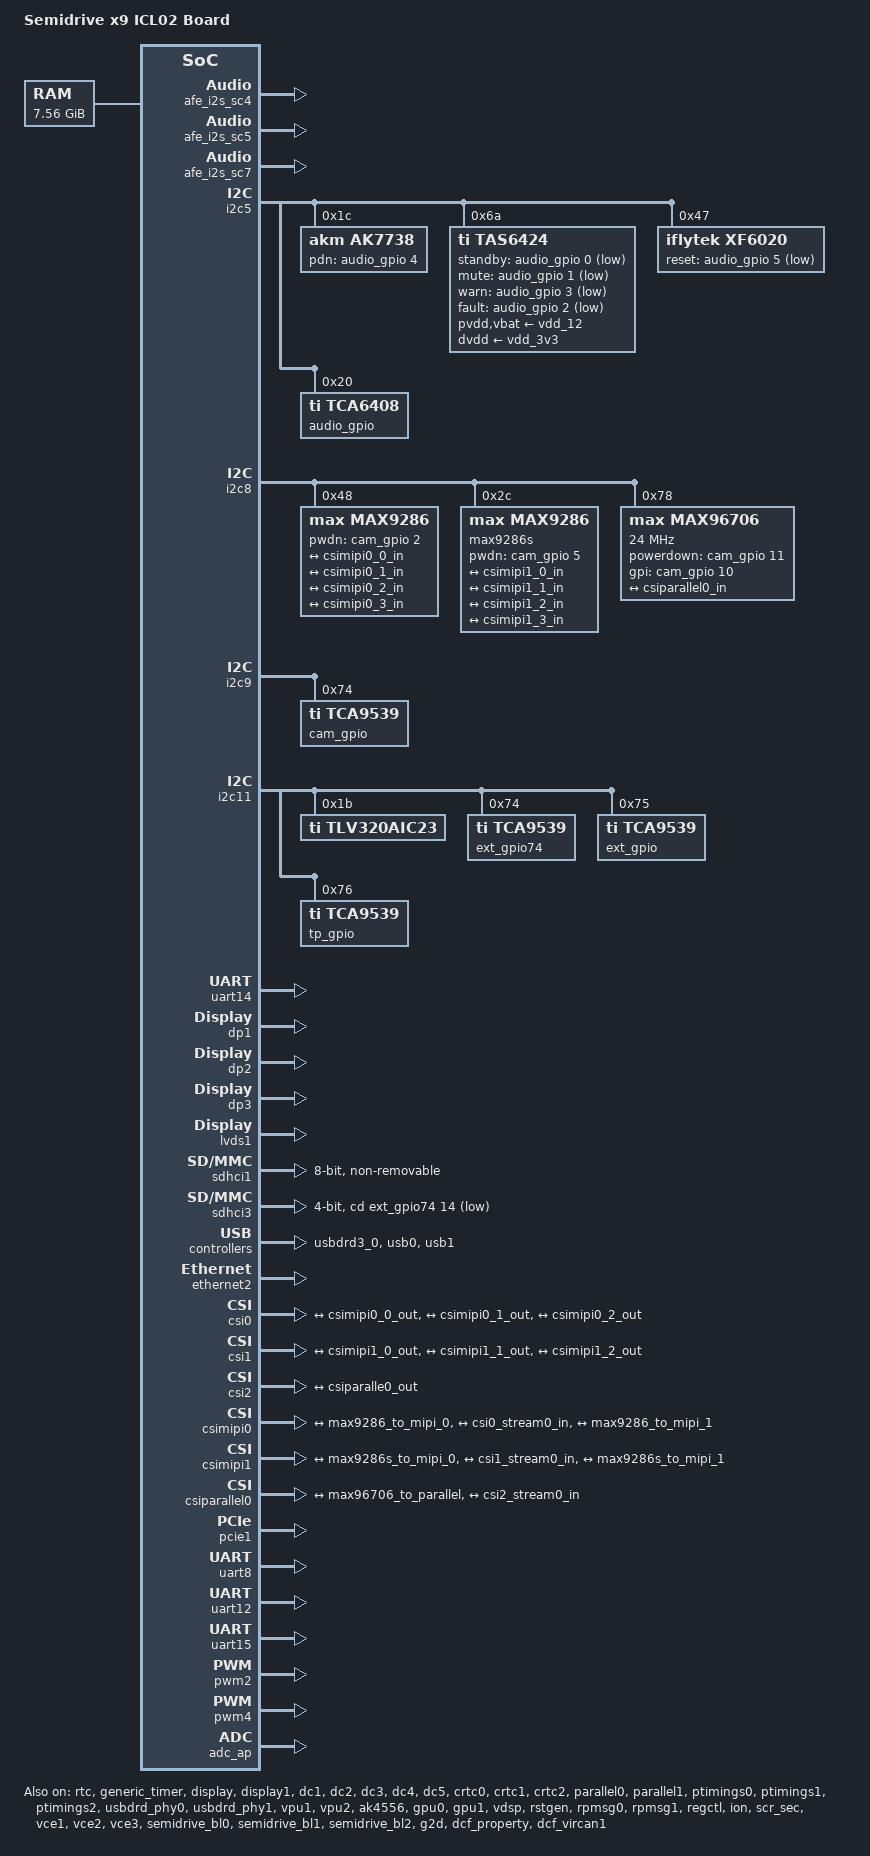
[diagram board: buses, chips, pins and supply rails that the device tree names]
/dts-v1/;

#include "x9-xen.dtsi"
#include "cpus-ap1-xen.dtsi"
#include "display-xen.dtsi"
#include "clk-xen.dtsi"
#include "x9-clk-common-xen.dtsi"
#include "lcd-timings-xen.dtsi"
#include "vdsp-xen.dtsi"
#include "x9-gpu.dtsi"
#include "x9-import.dtsi"
#include "reserved-mem-xen.dtsi"

/ {
	model = "Semidrive x9 ICL02 Board";

	compatible = "semidrive,kunlun";

	aliases {
		serial0 = &uart14;
	};

	memory@5c200000 {
		device_type = "memory";
		reg = <0x0 0x5c200000 0x0 0xa3e00000>,
		      <0x1 0x0 0x1 0x40000000>;
	};

        chosen {
                bootargs = "root=/dev/mmcblk0p17 rodata=off earlyprintk=xen console=tty0 console=hvc0 debug rw loglevel=3 cma=64M rootwait psplash=false";
                xen,xen-bootargs = "console_to_ring console=dtuart dtuart=serial0 conswitch=x loglvl=error guest_loglvl=error console_timestamps=boot iommu=on sched=credit2 dom0_mem=1024M gnttab_max_frames=64 gnttab_max_maptrack_frames=1024 dom0_max_vcpus=2 dom0_vcpus_pin=true credit2_runqueue=cpu vwfi=native bootscrub=0";
                #address-cells = <0x02>;
                #size-cells = <0x02>;

                module@1 {
                        compatible = "xen,linux-zimage\0xen,multiboot-module";
                        reg = <0x00 0x5c280000 0x00 0x148a200>;
                };
        };

};

&cpu0 {
      reg = <0x00 0x00000000>;
      status = "okay";
};

&cpu1 {
      reg = <0x00 0x00000100>;
      status = "okay";
};

&cpu2 {
      reg = <0x00 0x00000200>;
      status = "okay";
};

&cpu3 {
      reg = <0x00 0x00000300>;
      status = "okay";
};

&cpu4 {
      reg = <0x00 0x00000400>;
      status = "okay";
};

&cpu5 {
      reg = <0x00 0x00000500>;
      status = "okay";
};

&psci {
	method = "smc";
};

&gic {
     compatible = "arm,cortex-a15-gic","arm,gic-400";
     reg = <0x0 0x35431000 0x0 0x1000>,
     	   <0x0 0x35432000 0x0 0x2000>,
           <0x0 0x35434000 0x0 0x2000>,
           <0x0 0x35436000 0x0 0x2000>;
};

&smmu {
      status = "okay";
};

&rtc {
	status = "okay";
	xen,passthrough;
};

&dmac2 {
	status = "okay";
        xen,passthrough;
        xen,mids = <10>;
        sid = <SDRV_SID_DMAC2>;
};

&dmac3 {
	status = "okay";
        xen,passthrough;
        xen,mids = <11>;
        sid = <SDRV_SID_DMAC3>;
};

&dmac4 {
	status = "okay";
        xen,passthrough;
        xen,mids = <12>;
        sid = <SDRV_SID_DMAC4>;
};

&dmac5 {
	status = "okay";
        xen,passthrough;
        xen,mids = <13>;
        sid = <SDRV_SID_DMAC5>;
};

&dmac6 {
	status = "okay";
        xen,passthrough;
        xen,mids = <14>;
        sid = <SDRV_SID_DMAC6>;
};

&dmac7 {
	status = "okay";
        xen,passthrough;
        xen,mids = <15>;
        sid = <SDRV_SID_DMAC7>;
};

&afe_i2s_sc4 {
	status = "okay";
        xen,passthrough;
};

&afe_i2s_sc5{
	dmas = <&dmac4 X9_DMA_SLV_ID_I2S_SC6_TX>, <&dmac4 X9_DMA_SLV_ID_I2S_SC6_RX>;
	dma-names = "tx", "rx";
	status = "okay";
        xen,passthrough;
};

&afe_i2s_sc7{
	dmas = <&dmac4 X9_DMA_SLV_ID_I2S_SC8_TX>, <&dmac4 X9_DMA_SLV_ID_I2S_SC8_RX>;
	dma-names = "tx", "rx";
	status = "okay";
        xen,passthrough;
};

&i2c0 {
      xen,passthrough;
};

&i2c1 {
      xen,passthrough;
};

&i2c2 {
      xen,passthrough;
};

&i2c3 {
      xen,passthrough;
};

&i2c4 {
	status = "disabled";
        xen,passthrough;

	gt9271_5_j33:gt9271_5_j33@14 {
		compatible = "sdrv,ds927_ds928_gt9xx";
		irq-gpios = <&port4e 3 0>;	/*io83*/
		//irq-gpios = <&ext_gpio 9 0>;	/*index 9*/
		reset-gpios = <&ext_gpio 7 0>;		/*index 7*/
		reg = <0x14>;
		dev_type = <0>;	/* 0: main device, 1: aux device */
		addr_ds927 = <0x1a>;
		addr_ds928 = <0x36>;
	};
};

&i2c5 {

	status = "okay";
	xen,passthrough;
	ak7738: codec@1c{
		compatible = "akm,ak7738";
		reg = <0x1c>;
		ak7738,pdn-gpio = <&audio_gpio 4 0>; // If PDN GPIO pin is used
	};

	tas6424:codec@6a {
		compatible = "ti,tas6424";
		reg = <0x6a>;
		#sound-dai-cells = <0>;
		pvdd-supply = <&vdd_12>;
		vbat-supply = <&vdd_12>;
		dvdd-supply = <&vdd_3v3>;
		standby-gpios = <&audio_gpio 0 GPIO_ACTIVE_LOW>;
		mute-gpios = <&audio_gpio 1 GPIO_ACTIVE_LOW>;
		warn-gpios = <&audio_gpio 3 GPIO_ACTIVE_LOW>;
		fault-gpios = <&audio_gpio 2 GPIO_ACTIVE_LOW>;
	};

	xf6020:codec@47{
		compatible = "iflytek,xf6020";
		reg = <0x47>;
		reset-gpios = <&audio_gpio 5 GPIO_ACTIVE_LOW>;
	};

	audio_gpio: gpio@20 {
		compatible = "ti,tca6408";
		reg = <0x20>;
		#gpio-cells = <2>;
		gpio-controller;
	};
};

&i2c8 {
        status = "okay";
        xen,passthrough;

                max9286:max9286@48 {
		        compatible = "max,max9286";
		        reg = <0x48>;
		        pwdn-gpios = <&cam_gpio 2 0>;

			ports {
				port@0 {
					#address-cells = <1>;
					#size-cells = <0>;

					max9286_to_mipi_0: endpoint {
						remote-endpoint = <&csimipi0_0_in>;
					};
				};
				port@1 {
					#address-cells = <1>;
					#size-cells = <0>;

					max9286_to_mipi_1: endpoint {
						remote-endpoint = <&csimipi0_1_in>;
					};
				};
				port@2 {
					#address-cells = <1>;
					#size-cells = <0>;

					max9286_to_mipi_2: endpoint {
						remote-endpoint = <&csimipi0_2_in>;
					};
				};
				port@3 {
					#address-cells = <1>;
					#size-cells = <0>;

					max9286_to_mipi_3: endpoint {
						remote-endpoint = <&csimipi0_3_in>;
					};
				};
			};
		};

		max9286s:max9286s@2c {
			compatible = "max,max9286";
			reg = <0x2c>;
			pwdn-gpios = <&cam_gpio 5 0>;

			ports {
				port@0 {
					#address-cells = <1>;
					#size-cells = <0>;

					max9286s_to_mipi_0: endpoint {
						remote-endpoint = <&csimipi1_0_in>;
					};
				};
				port@1 {
					#address-cells = <1>;
					#size-cells = <0>;

					max9286s_to_mipi_1: endpoint {
						remote-endpoint = <&csimipi1_1_in>;
					};
				};
				port@2 {
					#address-cells = <1>;
					#size-cells = <0>;

					max9286s_to_mipi_2: endpoint {
						remote-endpoint = <&csimipi1_2_in>;
					};
				};
				port@3 {
					#address-cells = <1>;
					#size-cells = <0>;

					max9286s_to_mipi_3: endpoint {
						remote-endpoint = <&csimipi1_3_in>;
					};
				};
			};
		};

		max96706:max96706@78 {
			compatible = "max,max96706";
			clock-frequency = <24000000>;
			reg = <0x78>;
			powerdown-gpios = <&cam_gpio 11 0>;
			gpi-gpios = <&cam_gpio 10 0>;
			port {
				#address-cells = <1>;
				#size-cells = <0>;

				max96706_to_parallel: endpoint {
					remote-endpoint = <&csiparallel0_in>;
				};
			};
		};
};

&i2c9 {
        status = "okay";
        xen,passthrough;
	cam_gpio: gpio@74 {
		compatible = "ti,tca9539";
		reg = <0x74>;
		#gpio-cells = <2>;
		gpio-controller;
	};
};

&i2c10 {
      xen,passthrough;
};

&i2c11 {
        status = "okay";
        xen,passthrough;
	tlv320aic23: codec@1b {
		compatible = "ti,tlv320aic23";
		reg = <0x1b>;
	};
	ext_gpio74: gpio@74 {
		compatible = "ti,tca9539";
		reg = <0x74>;
		#gpio-cells = <2>;
		gpio-controller;
	};
	ext_gpio: gpio@75 {
		compatible = "ti,tca9539";
		reg = <0x75>;
		#gpio-cells = <2>;
		gpio-controller;
	};
	tp_gpio: gpio@76 {
		compatible = "ti,tca9539";
		reg = <0x76>;
		#gpio-cells = <2>;
		gpio-controller;
	};
};

&i2c13 {
       status = "disabled";
       xen,passthrough;
       gt9271_14_j33:gt9271_14_j33@14 {
                //pinctrl-names = "default";
                //pinctrl-0 = <&pinctrl_gpiotouch_lvds>;
                compatible = "goodix,gt9271";
		irq-gpios = <&port4e 2 0>;	/*io82*/
                reset-gpios = <&ext_gpio 6 0>;	/*index 6*/
                reg = <0x14>;
		dev_type = <0>;
        };

};

&i2c14 {
	status = "disabled";
        xen,passthrough;
	gt9271_15_j33:gt9271_15_j33@14 {
		//pinctrl-names = "default";
		//pinctrl-0 = <&pinctrl_gpiotouch_lvds>;
		compatible = "goodix,gt9271";
		irq-gpios = <&port4e 3 0>;	/*io83*/
		reset-gpios = <&ext_gpio 7 0>;		/*index 7*/
		reg = <0x14>;
		dev_type = <1>;	/* 0: main device, 1: aux device */
	};
};

&i2c15 {
	status = "disabled";
        xen,passthrough;

	serdes_gt9xx_16_j35:touch@5d {
		compatible = "sdrv,ds941_ds948_gt9xx";
		irq-gpios = <&port4e 16 0>;	/*io96*/
		reset-gpios = <&tp_gpio 1 0>;	/*index 1*/
		reg = <0x5d>;
		dev_type = <0>;	/* 0: main device, 1: aux device */
		addr_ds941 = <0x0c>;
		addr_ds948 = <0x2c>;
		irq_channel = <3>;
		reset_channel = <2>;
	};

	serdes_gt9xx_16_j35a:touch@14 {
		compatible = "sdrv,ds941_ds948_gt9xx";
		irq-gpios = <&port4e 17 0>;	/*io97*/
		reset-gpios = <&tp_gpio 2 0>;	/*index 2*/
		reg = <0x14>;
		dev_type = <1>;	/* 0: main device, 1: aux device */
		addr_ds941 = <0x0d>;
		addr_ds948 = <0x3c>;
		irq_channel = <3>;
		reset_channel = <2>;
	};
};

&uart14 {
	//dmas = <&dmac4 X9_DMA_SLV_ID_UART9_TX>, <&dmac4 X9_DMA_SLV_ID_UART9_RX>;
	//dma-names = "tx", "rx";
	status = "okay";
};

&generic_timer {
	status = "okay";
};

&display {
	sdriv,crtc = <&crtc1>;
	status = "okay";
        reg = <0x00 0x38419000 0x00 0x3000>;
};

&display1 {
	sdriv,crtc = <&crtc0 &crtc2>;
	status = "okay";
        reg = <0x00 0x38419000 0x00 0x3000>;
        xen,passthrough;
};

&dp1 {
	status = "okay";
        xen,passthrough;
};

&dp2 {
	status = "okay";
};

&dp3 {
	status = "okay";
        xen,passthrough;
};

&dc1 {
	status = "okay";
        xen,passthrough;
};

&dc2 {
	status = "okay";
        xen,passthrough;
};

&dc3 {
	status = "okay";
        xen,passthrough;
};

&dc4 {
	status = "okay";
        xen,passthrough;
};

&dc5 {
	status = "okay";
        xen,passthrough;
};

&crtc0 {
	dpc-master = <&dp1>;
	status = "okay";
        xen,passthrough;
        xen,mids = <19 23>;
        sid = <SDRV_SID_CRTC0>;
};

&crtc1 {
	dpc-master = <&dp2>;
	status = "okay";
        /*xen,dom0-iommus;*/
        xen,mids = <20 24>;
        sid = <SDRV_SID_CRTC1>;
};

&crtc2 {
	dpc-master = <&dp3>;
	status = "okay";
        xen,passthrough;
        xen,mids = <22 25>;
        sid = <SDRV_SID_CRTC2>;
};

&lvds1 {
	lvds-select = <5>;
	dual-mode = <1>;
	status = "okay";
        xen,passthrough;
};

&parallel0 {
	status = "okay";
        xen,passthrough;
};

&parallel1 {
	status = "okay";
};

&parallel2 {
	status = "okey";
        xen,passthrough;
};

&dtimings0 {
	native-mode = <&hsd_fhd1920x720>;
        xen,passthrough;
};

&dtimings1 {
	native-mode = <&hsd_fhd1920x720_1>;
};

&dtimings2 {
	native-mode = <&hsd_fhd1920x720_2>;
        xen,passthrough;
};

&ptimings0 {
	status = "okay";
	xen,passthrough;

};

&ptimings1 {
	status = "okay";
};

&ptimings2 {
	status = "okay";
	xen,passthrough;
};

&pinctrl {
	reg = <0x0 0x38500000 0x0 0x10000>;
	pinctrl-names = "default";

	sdx9-evk {
		pinctrl_mshc1: mshc1grp {
		kunlun,pins = <
			X9_PINCTRL_EMMC1_CLK__MSHC1_CLK_1	X9_PINCTRL_OPEN_DRAIN_DISABLE
			X9_PINCTRL_EMMC1_CMD__MSHC1_CMD_1	X9_PINCTRL_OPEN_DRAIN_DISABLE
			X9_PINCTRL_EMMC1_DATA0__MSHC1_DATA_0_1	X9_PINCTRL_OPEN_DRAIN_DISABLE
			X9_PINCTRL_EMMC1_DATA1__MSHC1_DATA_1_1	X9_PINCTRL_OPEN_DRAIN_DISABLE
			X9_PINCTRL_EMMC1_DATA2__MSHC1_DATA_2_1	X9_PINCTRL_OPEN_DRAIN_DISABLE
			X9_PINCTRL_EMMC1_DATA3__MSHC1_DATA_3_1	X9_PINCTRL_OPEN_DRAIN_DISABLE
			X9_PINCTRL_EMMC1_DATA4__MSHC1_DATA_4_1	X9_PINCTRL_OPEN_DRAIN_DISABLE
			X9_PINCTRL_EMMC1_DATA5__MSHC1_DATA_5_1	X9_PINCTRL_OPEN_DRAIN_DISABLE
			X9_PINCTRL_EMMC1_DATA6__MSHC1_DATA_6_1	X9_PINCTRL_OPEN_DRAIN_DISABLE
			X9_PINCTRL_EMMC1_DATA7__MSHC1_DATA_7_1	X9_PINCTRL_OPEN_DRAIN_DISABLE
			X9_PINCTRL_EMMC1_STROBE__MSHC1_STB_1	X9_PINCTRL_OPEN_DRAIN_ENABLE
			X9_PINCTRL_EMMC1_RESET_N__MSHC1_RST_N_1	X9_PINCTRL_OPEN_DRAIN_DISABLE
			>;
		};

		pinctrl_gpiotouch_lvds: touchgrp_lvds {
                        kunlun,pins = <
			X9_PINCTRL_I2S_MC_SD4__GPIO_MUX2_IO80_1          0x00
			X9_PINCTRL_I2S_MC_SD5__GPIO_MUX2_IO81_1          0x00
                        X9_PINCTRL_I2S_MC_SD6__GPIO_MUX2_IO82_1          0x00
                        X9_PINCTRL_I2S_MC_SD7__GPIO_MUX2_IO83_1          0x00
                        >;
                };
		pinctrl_gpiotouch_mipi: touchgrp_mipi {
                        kunlun,pins = <
			X9_PINCTRL_EMMC2_CLK__GPIO_MUX2_IO96_1          0x00
			X9_PINCTRL_EMMC2_CMD__GPIO_MUX2_IO97_1          0x00
                        >;
                };
	};
};

&gpio3 {
       status = "okay";
       xen,passthrough;
};

&port3a{
        xen,passthrough;
};

&port3b{
        xen,passthrough;
};

&port3c{
        xen,passthrough;
};

&port3d{
        xen,passthrough;
};

&port3e{
        xen,passthrough;
};

&gpio4 {
	//pinctrl-names = "default";
	//pinctrl-0 = <&pinctrl_gpiotouch_lvds &pinctrl_gpiotouch_mipi>;
	status = "okay";
        xen,passthrough;
};

&port4a{
        xen,passthrough;
};

&port4b{
        xen,passthrough;
};

&port4c{
        xen,passthrough;
};

&port4d{
        xen,passthrough;
};

&port4e{
        xen,passthrough;
};

&gpio5 {
       status = "okay";
       xen,passthrough;
};

&port5a{
        xen,passthrough;
};

&port5b{
        xen,passthrough;
};

&port5c{
        xen,passthrough;
};

&port5d{
        xen,passthrough;
};

&port5e{
        xen,passthrough;
};

&sdhci1 {
	#clock-cells = <1>;
	clocks = <&EMMC1>;
	clock-names = "core";
	max-frequency = <200000000>;
	bus-width = <8>;
	non-removable;
	no-sdio;
	no-sd;
	card-is-emmc;
	disable-wp;
	cap-mmc-highspeed;
	keep-power-in-suspend;
	mmc-ddr-1_8v;
	mmc-hs200-1_8v;
	mmc-hs400-1_8v;
	mmc-hs400-enhanced-strobe;
	status = "okay";
};

&sdhci3 {
	#clock-cells = <1>;
	clocks = <&EMMC3>;
	clock-names = "core";
	max-frequency = <25000000>;
	cd-gpios = <&ext_gpio74 14 GPIO_ACTIVE_LOW>;
	bus-width = <4>;
	no-1-8-v;
	no-mmc;
	no-sdio;
	disable-wp;
	keep-power-in-suspend;
	status = "okay";
        xen,passthrough;
        xen,mids = <34>;
        sid = <SDRV_SID_SDHCI3>;
};

&usbdrd3_0 {
	status = "okay";
        xen,passthrough;
};

&usb0 {
	status = "okay";
        xen,passthrough;
        xen,mids = <38>;
        sid = <SDRV_SID_USB0>;

};

&usbdrd_phy0 {
             status = "okay";
             xen,passthrough;
};

&usbdrd3_0 {
	status = "okay";
        xen,passthrough;
};

&usb1 {
	status = "okay";
        xen,passthrough;
        xen,mids = <39>;
        sid = <SDRV_SID_USB1>;

};

&usbdrd_phy1 {
             status = "okay";
             xen,passthrough;
};

&ethernet2 {
	status = "okay";
        xen,passthrough;
        xen,mids = <37>;
	sid = <SDRV_SID_ETH2>;
};

&vpu1 {
      resets = <&rstgen RSTGEN_MODULE_VPU1>;
      reset-names = "vpu-reset";
      status = "okay";
      xen,passthrough;
      xen,mids = <29>;
      sid = <SDRV_SID_VPU1>;
};

&vpu2 {
      	resets = <&rstgen RSTGEN_MODULE_VPU2>;
	reset-names = "vpu-reset";
        status = "okay";
        xen,passthrough;
        xen,mids = <30>;
        sid = <SDRV_SID_VPU2>;
};

&vdd_12 {
         xen,passthrough;
};

&vdd_3v3 {
         xen,passthrough;
};

&ak4556 {
       status = "okay";
       xen,passthrough;
};

&sound_ak7738 {
       status = "okay";
       xen,passthrough;
};

&sound_ak4556 {
           status = "okay";
           xen,passthrough;
};

&sound_tlv320aic23 {
        status = "okay";
        xen,passthrough;
};

&gpu0 {
	status = "okay";
	xen,passthrough;
        xen,mids = <56>;
	sid = <SDRV_SID_GPU0>;
};

&gpu1 {
	status = "okay";
        clocks = <&GPU2_0>;
        clock-names = "gpucoreclk";
	/*xen,dom0-iommus;*/
        xen,mids = <64>;
	sid = <SDRV_SID_GPU1>;
};

&vdsp {
	status = "okay";
        xen,passthrough;
};

&vdsp_ipc {
	status = "okay";
        xen,passthrough;
};

&rstgen {
	reg = <0x0 0x38467000 0x0 0x1000>,	/* vpu1 */
		<0x0 0x38468000 0x0 0x1000>,	/* vpu2 */
                <0x0 0x3846f000 0x0 0x1000>;	/* pcie1 */
	rstgen_resource = <
		RSTGEN_MODULE_VPU1
		RSTGEN_MODULE_VPU2
                RSTGEN_MODULE_PCIE1
		>;
	status = "okay";
        xen,passthrough;
};

&mbox {
      status = "okay";
};

&rpmsg0 {
	memory-region = <&rproc_0_safety>;
	reg = <0x0 RPMSG0_MEM_HEAD_BASE 0x0 RPMSG0_MEM_HEAD_SIZE>;
	status = "okay";
};

&rpmsg1 {
	memory-region = <&rproc_1_secure>;
	reg = <0x0 RPMSG1_MEM_HEAD_BASE 0x0 RPMSG1_MEM_HEAD_SIZE>;
	status = "okay";
};

&ipcc0 {
	status = "okay";
};

&ipcc1 {
	status = "okay";
};

&regctl {
	reg = <0x0 0x38415000 0x0 0x1000>,
              <0x0 0x38418000 0x0 0x1000>,
              <0x0 0x38419000 0x0 0x1000>;
	reg-names = "SDRV_REG_REMAP",
			"SDRV_REG_BOOTREASON",
                        "SDRV_REG_HWID";
	status = "okay";
};

&ion {
	status = "okay";
        xen,passthrough;
};

&hwsema {
        status = "disabled";
};

&scr_sec {
        status = "okay";
        xen,passthrough;
};

&csi0 {
	mbus-type = "mipi-csi2";
	pclk-sample = <1>;
	status = "okay";
        xen,passthrough;
        xen,mids = <16>;
        sid = <SDRV_SID_CSI0>;
	ports {
		csi0_stream0: port@0 {
			csi0_stream0_in: endpoint@0 {
				remote-endpoint = <&csimipi0_0_out>;
			};
		};
		csi0_stream1: port@1 {
			csi0_stream1_in: endpoint@0 {
				remote-endpoint = <&csimipi0_1_out>;
			};
		};
		csi0_stream2: port@2 {
			csi0_stream2_in: endpoint@0 {
				remote-endpoint = <&csimipi0_2_out>;
			};
		};
		csi0_stream3: port@3 {
			csi0_stream3_in: endpoint@0 {
				remote-endpoint = <&csimipi0_3_out>;
			};
		};
	};
};

&csi1 {
	mbus-type = "mipi-csi2";
	pclk-sample = <1>;
	status = "okay";
        xen,passthrough;
        xen,mids = <17>;
        sid = <SDRV_SID_CSI1>;

	ports {
		csi1_stream0: port@0 {
			csi1_stream0_in: endpoint@0 {
				remote-endpoint = <&csimipi1_0_out>;
			};
		};
		csi1_stream1: port@1 {
			csi1_stream1_in: endpoint@0 {
				remote-endpoint = <&csimipi1_1_out>;
			};
		};
		csi1_stream2: port@2 {
			csi1_stream2_in: endpoint@0 {
				remote-endpoint = <&csimipi1_2_out>;
			};
		};
		csi1_stream3: port@3 {
			csi1_stream3_in: endpoint@0 {
				remote-endpoint = <&csimipi1_3_out>;
			};
		};
	};
};

&csi2 {
	mbus-type = "parallel";
	pclk-sample = <1>;
	status = "okay";
        xen,passthrough;
        xen,mids = <18>;
        sid = <SDRV_SID_CSI2>;

	ports {
		csi2_stream0: port@0 {
			csi2_stream0_in: endpoint@0 {
				remote-endpoint = <&csiparalle0_out>;
			};
		};

	};
};

&csimipi0 {
	status = "okay";
	lanerate = <72000000>;
	hsa = <10>;
	hbp = <20>;
	hsd = <0x60>;
	output-type = <0x1e>;
        xen,passthrough;

	ports {
		#address-cells = <1>;
		#size-cells = <0>;

		port@0 {
			#address-cells = <1>;
			#size-cells = <0>;
			reg = <0>;
			csimipi0_0_in: endpoint@0 {
				remote-endpoint = <&max9286_to_mipi_0>;
				reg = <0>;
			};
			csimipi0_0_out: endpoint@1 {
				remote-endpoint = <&csi0_stream0_in>;
				reg = <0>;
			};
		};
		port@1 {
			#address-cells = <1>;
			#size-cells = <0>;
			reg = <1>;
			csimipi0_1_in: endpoint@0 {
				remote-endpoint = <&max9286_to_mipi_1>;
				reg = <1>;
			};
			csimipi0_1_out: endpoint@1 {
				remote-endpoint = <&csi0_stream1_in>;
				reg = <1>;
			};
		};
		port@2 {
			#address-cells = <1>;
			#size-cells = <0>;
			reg = <2>;
			csimipi0_2_in: endpoint@0 {
				remote-endpoint = <&max9286_to_mipi_2>;
				reg = <2>;
			};
			csimipi0_2_out: endpoint@1 {
				remote-endpoint = <&csi0_stream2_in>;
				reg = <2>;
			};
		};
		port@3 {
			#address-cells = <1>;
			#size-cells = <0>;
			reg = <3>;
			csimipi0_3_in: endpoint@0 {
				remote-endpoint = <&max9286_to_mipi_3>;
				reg = <3>;
			};
			csimipi0_3_out: endpoint@1 {
				remote-endpoint = <&csi0_stream3_in>;
				reg = <3>;
			};
		};
	};
};

&csimipi1 {
	status = "okay";
	lanerate = <72000000>;
	hsa = <10>;
	hbp = <20>;
	hsd = <0x60>;
	output-type = <0x1e>;
        xen,passthrough;
	ports {
		#address-cells = <1>;
		#size-cells = <0>;

		port@0 {
			#address-cells = <1>;
			#size-cells = <0>;
			reg = <0>;
			csimipi1_0_in: endpoint@0 {
				remote-endpoint = <&max9286s_to_mipi_0>;
				reg = <0>;
			};
			csimipi1_0_out: endpoint@1 {
				remote-endpoint = <&csi1_stream0_in>;
				reg = <0>;
			};
		};
		port@1 {
			#address-cells = <1>;
			#size-cells = <0>;
			reg = <1>;
			csimipi1_1_in: endpoint@0 {
				remote-endpoint = <&max9286s_to_mipi_1>;
				reg = <1>;
			};
			csimipi1_1_out: endpoint@1 {
				remote-endpoint = <&csi1_stream1_in>;
				reg = <1>;
			};
		};
		port@2 {
			#address-cells = <1>;
			#size-cells = <0>;
			reg = <2>;
			csimipi1_2_in: endpoint@0 {
				remote-endpoint = <&max9286s_to_mipi_2>;
				reg = <2>;
			};
			csimipi1_2_out: endpoint@1 {
				remote-endpoint = <&csi1_stream2_in>;
				reg = <2>;
			};
		};
		port@3 {
			#address-cells = <1>;
			#size-cells = <0>;
			reg = <3>;
			csimipi1_3_in: endpoint@0 {
				remote-endpoint = <&max9286s_to_mipi_3>;
				reg = <3>;
			};
			csimipi1_3_out: endpoint@1 {
				remote-endpoint = <&csi1_stream3_in>;
				reg = <3>;
			};
		};
	};
};

&csiparallel0 {
	status = "okay";
	#address-cells = <1>;
	#size-cells = <0>;
        xen,passthrough;

	port {
		#address-cells = <1>;
		#size-cells = <0>;
		reg = <0>;
		csiparallel0_in: endpoint@0 {
			remote-endpoint = <&max96706_to_parallel>;
		};

		csiparallel0_out: endpoint@1 {
			remote-endpoint = <&csi2_stream0_in>;
		};
	};
};

&pcie1 {
        resets = <&rstgen RSTGEN_MODULE_PCIE1>;
	reset-names = "pcie-reset";
	status = "okay";
        xen,passthrough;
        xen,mids = <80 81 82 83 84 85 86 87 88 89 90 91 92 93 94 95>;
        sid = <SDRV_SID_PCIE0>;
};

&uart8 {
	status = "okay";
        xen,passthrough;
};

&uart12 {
	status = "okay";
        xen,passthrough;
};

&uart15 {
	status = "okay";
        xen,passthrough;
};

&vce1 {
   /*
 	* op-mode options:
 	* bit 0: rng enable(1) or disable(0)
 	* bit 1: ce enable(1) or disable(0)
 	*/
 	op-mode = <3>;
	status = "okay";
};

&vce2 {
   /*
 	* op-mode options:
 	* bit 0: rng enable(1) or disable(0)
 	* bit 1: ce enable(1) or disable(0)
 	*/
 	op-mode = <3>;
	status = "okay";
       xen,passthrough;
};

&vce3 {
   /*
 	* op-mode options:
 	* bit 0: rng enable(1) or disable(0)
 	* bit 1: ce enable(1) or disable(0)
 	*/
 	op-mode = <3>;
	status = "okay";
	xen,passthrough;
};

&pwm2 {
	sd,playback-num-chan = <2>;
	#pwm-cells = <3>;
	status = "okay";
        xen,passthrough;
};

&pwm4 {
	sd,playback-num-chan = <2>;
	#pwm-cells = <3>;
	status = "okay";
};

&semidrive_bl0 {
		status = "okay";
                xen,passthrough;
};

&semidrive_bl1 {
		status = "okay";
                xen,passthrough;
};

&semidrive_bl2 {
		compatible = "pwm-backlight"; /*"sd,rpmsg-bl" for rpmsg; "pwm-backlight" for native*/
		bl_screen-id = /bits/ 32 <0>;
		pwms = <&pwm4 PWM_CH0 PWM_FREQUENCY PWM_POLARITY_INVERSED>;
		brightness-levels = <0 1 2 3 4 5 6 7 8 9 10 11 12 13 14 15 16
							 17 18 19 20 21 22 23 24 25 26 27 28 29 30
							 31 32 33 34 35 36 37 38 39 40 41 42 43 44
							 45 46 47 48 49 50 51 52 53 54 55 56 57 58
							 59 60 61 62 63 64 65 66 67 68 69 70 71 72
							 73 74 75 76 77 78 79 80 81 82 83 84 85 86
							 87 88 89 90 91 92 93 94 95 96 97 98 99 100>;
		default-brightness-level = <70>;
		status = "okay";
};

&g2d {
     status = "okay";
     xen,passthrough;
     xen,mids = <27>;
     sid = <SDRV_SID_G2D1>;
};

&dcf_property {
	status = "okay";
};

&dcf_vircan1 {
	status = "okay";
};

&adc_ap {
	status = "okay";
        xen,passthrough;
};
